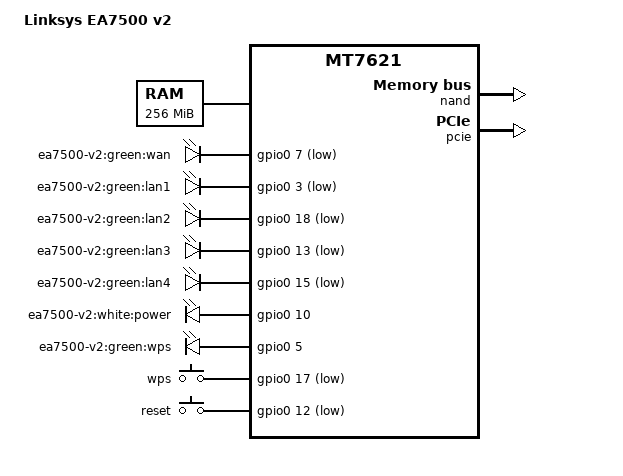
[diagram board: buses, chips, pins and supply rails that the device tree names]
/dts-v1/;

#include "mt7621.dtsi"

#include <dt-bindings/gpio/gpio.h>
#include <dt-bindings/input/input.h>

/ {
	compatible = "linksys,ea7500-v2", "mediatek,mt7621-soc";
	model = "Linksys EA7500 v2";

	memory@0 {
		device_type = "memory";
		reg = <0x0 0x10000000>;
	};

	chosen {
		bootargs = "console=ttyS0,115200";
	};

	gpio-leds {
		compatible = "gpio-leds";

		wan_green {
			label = "ea7500-v2:green:wan";
			gpios = <&gpio0 7 GPIO_ACTIVE_LOW>;
		};

		lan1_green {
			label = "ea7500-v2:green:lan1";
			gpios = <&gpio0 3 GPIO_ACTIVE_LOW>;
		};

		lan2_green {
			label = "ea7500-v2:green:lan2";
			gpios = <&gpio0 18 GPIO_ACTIVE_LOW>;
		};

		lan3_green {
			label = "ea7500-v2:green:lan3";
			gpios = <&gpio0 13 GPIO_ACTIVE_LOW>;
		};

		lan4_green {
			label = "ea7500-v2:green:lan4";
			gpios = <&gpio0 15 GPIO_ACTIVE_LOW>;
		};

		power {
			label = "ea7500-v2:white:power";
			gpios = <&gpio0 10 GPIO_ACTIVE_HIGH>;
		};

		wps {
			label = "ea7500-v2:green:wps";
			gpios = <&gpio0 5 GPIO_ACTIVE_HIGH>;
		};
	};

	gpio-keys-polled {
		compatible = "gpio-keys-polled";
		#address-cells = <1>;
		#size-cells = <0>;
		poll-interval = <20>;

		wps {
			label = "wps";
			gpios = <&gpio0 17 GPIO_ACTIVE_LOW>;
			linux,code = <KEY_WPS_BUTTON>;
		};

		reset {
			label = "reset";
			gpios = <&gpio0 12 GPIO_ACTIVE_LOW>;
			linux,code = <KEY_RESTART>;
		};
	};
};

&nand {
	status = "okay";

	partition@0 {
		label = "boot";
		reg = <0x0 0x80000>;
		read-only;
	};

	partition@80000 {
		label = "u_env";
		reg = <0x80000 0x40000>;
		read-only;
	};

	factory: partition@c0000 {
		label = "factory";
		reg = <0xc0000 0x40000>;
		read-only;
	};

	partition@100000 {
		label = "s_env";
		reg = <0x100000 0x40000>;
	};

	partition@140000 {
		label = "devinfo";
		reg = <0x140000 0x40000>;
		read-only;
	};

	partition@180000 {
		label = "kernel";
		reg = <0x180000 0x400000>;
	};

	partition@580000 {
		label = "ubi";
		reg = <0x580000 0x2400000>;
	};

	partition@2980000 {
		label = "alt_kernel";
		reg = <0x2980000 0x400000>;
		read-only;
	};

	partition@2d80000 {
		label = "alt_rootfs";
		reg = <0x2d80000 0x2400000>;
		read-only;
	};

	partition@5180000 {
		label = "sysdiag";
		reg = <0x5180000 0x100000>;
		read-only;
	};

	partition@5280000 {
		label = "syscfg";
		reg = <0x5280000 0x2d00000>;
		read-only;
	};
};

&pcie {
	status = "okay";

	pcie0 {
		mt76@0,0 {
			reg = <0x0000 0 0 0 0>;
			device_type = "pci";
			mediatek,mtd-eeprom = <&factory 0x0>;
		};
	};

	pcie1 {
		mt76@0,0 {
			reg = <0x0000 0 0 0 0>;
			device_type = "pci";
			mediatek,mtd-eeprom = <&factory 0x8000>;
		};
	};
};

&pinctrl {
	state_default: pinctrl0 {
		gpio {
			ralink,group = "i2c", "uart2", "uart3", "jtag", "wdt";
			ralink,function = "gpio";
		};
	};
};
